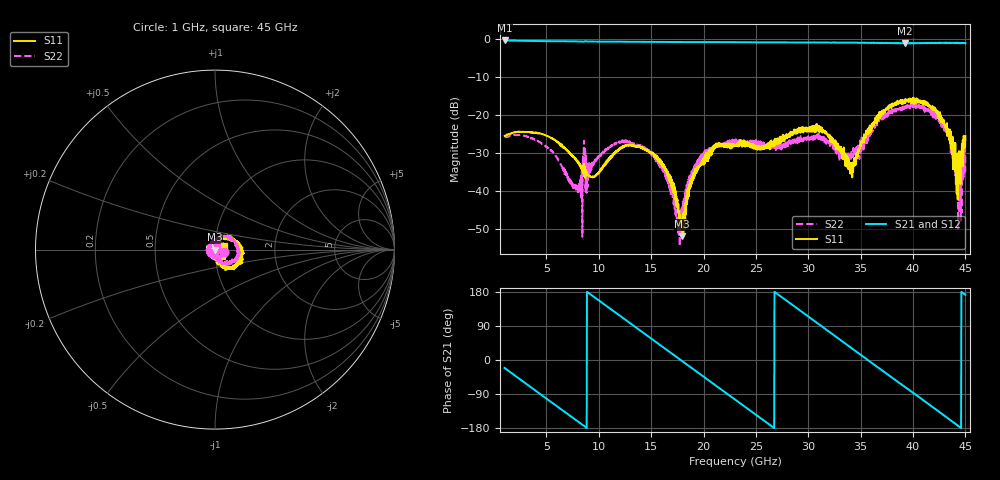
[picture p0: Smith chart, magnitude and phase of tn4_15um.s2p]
!Keysight Technologies,N5247B,MY61255062,A.19.80.06
!Date: Thursday, May 21, 2026 12:29:39
!Correction: S11(Cdelta 2-Port  )
!S21(Cdelta 2-Port  )
!S12(Cdelta 2-Port  )
!S22(Cdelta 2-Port  )
!S2P File: Measurements: S11, S21, S12, S22:
# Hz S  dB  R 50
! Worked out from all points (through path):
!   1601 points, 1 GHz to 45 GHz, reference 50 ohm
!   highest |S21| = -0.48 dB at 1 GHz (marker M1); lowest = -1.2 dB at 39.25 GHz (marker M2)
!   group delay of S21, straight-line fit = 55.9 ps
!   lowest |S11| = -51.8 dB at 17.97 GHz (marker M3), VSWR 1.01, Z = 49.8 - j0.111 ohm
!   |S11| at or under -10 dB: start of sweep to end of sweep
!   |S22| runs from -54.4 to -17.0 dB; largest |S21 - S12| = 0.016
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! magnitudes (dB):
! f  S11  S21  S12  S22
! 1 GHz  -25.4  -0.5  -0.5  -25.7
! 5.043 GHz  -25.5  -0.7  -0.7  -28.5
! 7.6 GHz  -31.1  -0.7  -0.7  -38.0
! 8.342 GHz  -33.5  -0.8  -0.8  -42.2
! 8.672 GHz  -34.0  -0.7  -0.7  -28.6
! 9.553 GHz  -36.1  -0.8  -0.8  -32.7
! 12.05 GHz  -28.5  -0.8  -0.8  -27.3
! 15.69 GHz  -31.3  -0.9  -0.9  -32.5
! 16.87 GHz  -36.2  -0.9  -0.9  -40.8
! 17.61 GHz  -44.7  -0.9  -0.9  -49.5
! 17.97 GHz  -51.8  -0.9  -0.9  -46.7
! 19.4 GHz  -34.6  -0.9  -0.9  -33.1
! 21.21 GHz  -28.2  -0.9  -0.9  -28.0
! 23 GHz  -27.7  -0.9  -0.9  -27.0
! 30.34 GHz  -24.4  -1.0  -1.0  -25.6
! 34.14 GHz  -32.9  -1.1  -1.1  -31.1
! 37.69 GHz  -18.1  -1.2  -1.2  -18.8
! 39.25 GHz  -16.9  -1.2  -1.2  -18.4
! 42.44 GHz  -20.9  -1.2  -1.1  -21.6
! 43.35 GHz  -24.0  -1.1  -1.2  -24.9
! 44.31 GHz  -30.0  -1.1  -1.1  -50.5
! 45 GHz  -25.6  -1.2  -1.2  -34.9
